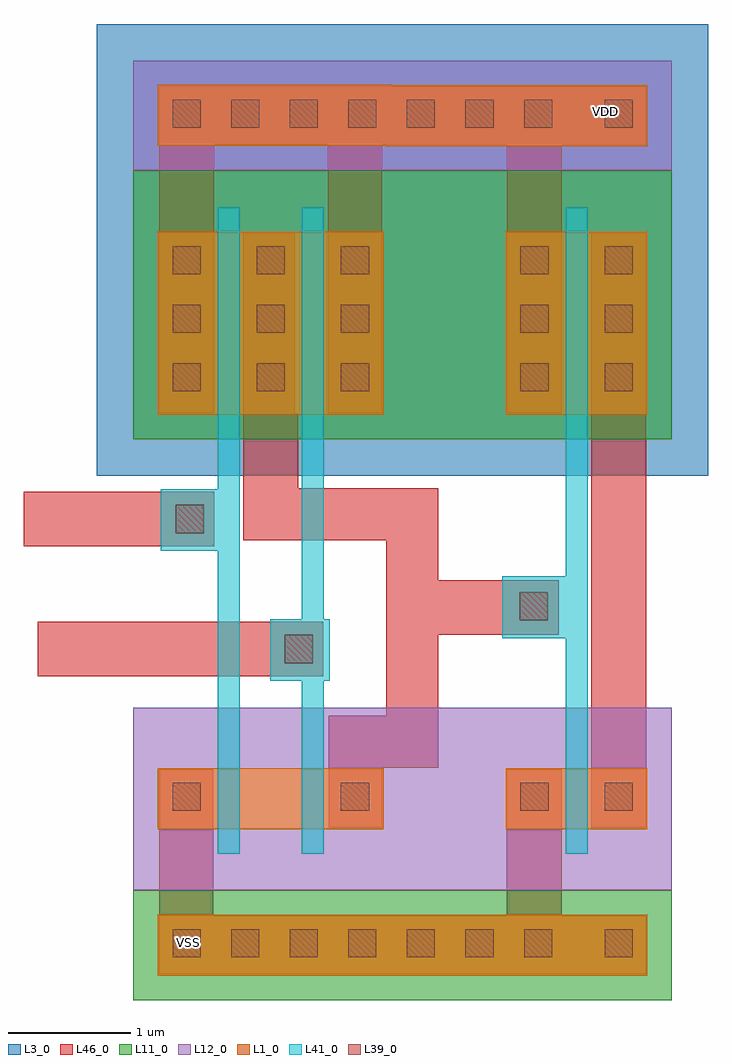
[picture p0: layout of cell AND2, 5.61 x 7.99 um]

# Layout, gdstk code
import gdstk
lib = gdstk.Library(unit=1e-6, precision=1e-09)
def R(c, l, rs):  # rectangles x0, y0, x1, y1
    for r in rs: c.add(gdstk.rectangle(r[:2], r[2:], *l))
def A(c, l, x, y, w, h, nx, ny, dx, dy):  # array of equal rectangles
    R(c, l, [(x+i*dx, y+j*dy, x+i*dx+w, y+j*dy+h) for i in range(nx) for j in range(ny)])
def P(c, l, *ps):  # polygons
    for p in ps: c.add(gdstk.Polygon(p, *l))
L1_0 = (1, 0)
L3_0 = (3, 0)
L11_0 = (11, 0)
L12_0 = (12, 0)
L39_0 = (39, 0)
L41_0 = (41, 0)
L46_0 = (46, 0)

and2 = lib.new_cell('AND2')
R(and2, L1_0, [(1.1,0.2,3.01,0.7), (3.95,0.2,5.11,0.7), (1.1,1.4,2.95,1.9), (3.95,1.4,5.11,1.9), (1.1,4.795,2.95,6.295), (3.95,4.795,5.11,6.295), (3.95,6.995,5.11,7.495), (1.1,6.996,3.01,7.496)])
R(and2, L3_0, [(0.6,4.295,5.61,7.995)])
R(and2, L11_0, [(0.9,0,5.31,0.9), (0.9,4.595,5.31,6.795)])
R(and2, L12_0, [(0.9,0.9,5.31,2.395), (0.9,6.795,5.31,7.695)])
A(and2, L39_0, 1.22, 0.35, 0.23, 0.23, 7, 1, 0.48, 0)
A(and2, L39_0, 1.22, 4.985, 0.23, 0.23, 3, 3, 0.69, 0.48)
A(and2, L39_0, 4.07, 4.985, 0.23, 0.23, 1, 3, 0, 0.48)
A(and2, L39_0, 4.76, 4.985, 0.23, 0.23, 1, 3, 0, 0.48)
A(and2, L39_0, 3.14, 7.145, 0.23, 0.23, 3, 1, 0.48, 0)
A(and2, L39_0, 1.22, 7.146, 0.23, 0.23, 4, 1, 0.48, 0)
R(and2, L39_0, [(4.76,0.35,4.99,0.58), (1.22,1.55,1.45,1.78), (2.6,1.55,2.83,1.78), (4.07,1.55,4.3,1.78), (4.76,1.55,4.99,1.78), (2.14,2.76,2.37,2.99), (4.065,3.11,4.295,3.34), (1.245,3.825,1.475,4.055), (4.76,7.145,4.99,7.375)])
R(and2, L41_0, [(1.59,1.2,1.77,6.495), (2.28,1.2,2.46,6.495), (4.44,1.2,4.62,6.495), (2.02,2.615,2.51,3.12), (3.92,2.965,4.475,3.47), (1.125,3.68,1.615,4.185)])
R(and2, L46_0, [(3.96,0.21,4.41,1.89), (2.5,1.41,2.94,1.902), (4.65,1.41,5.1,6.285), (3.94,2.99,4.385,3.44), (1.8,4.805,2.22,6.285), (3.96,4.805,4.41,7.485)])
P(and2, L46_0, [(1.11,0.21),(1.11,1.89),(1.555,1.89),(1.555,0.69),(5.1,0.69),(5.1,0.21)],
  [(1.11,4.805),(1.11,7.485),(5.1,7.485),(5.1,7.005),(2.94,7.005),(2.94,4.805),(2.49,4.805),(2.49,7.005),(1.56,7.005),(1.56,4.805)])
and2.add(gdstk.FlexPath([(3.01,0.45),(3.97,0.45)], 0.5, ends="flush", simple_path=True, layer=1, datatype=0))  # L1_0
and2.add(gdstk.FlexPath([(2.975,7.245),(3.95,7.245)], 0.5, ends="flush", simple_path=True, layer=1, datatype=0))  # L1_0
and2.add(gdstk.FlexPath([(2.713,1.89),(2.713,2.115),(3.168,2.115)], 0.426, ends="flush", simple_path=True, layer=46, datatype=0))  # L46_0
and2.add(gdstk.FlexPath([(3.185,1.902),(3.185,3.98),(1.8,3.98)], 0.426, ends="flush", simple_path=True, layer=46, datatype=0))  # L46_0
and2.add(gdstk.FlexPath([(2.025,3.975),(2.025,4.805)], 0.45, ends="flush", simple_path=True, layer=46, datatype=0))  # L46_0
and2.add(gdstk.FlexPath([(0,3.94),(1.56,3.94)], 0.45, ends="flush", simple_path=True, layer=46, datatype=0))  # L46_0
and2.add(gdstk.FlexPath([(0.115,2.875),(2.455,2.875)], 0.45, ends="flush", simple_path=True, layer=46, datatype=0))  # L46_0
and2.add(gdstk.FlexPath([(3.315,3.215),(3.94,3.215)], 0.45, ends="flush", simple_path=True, layer=46, datatype=0))  # L46_0
and2.add(gdstk.Label('VSS', (1.35,0.47), layer=101, texttype=0))
and2.add(gdstk.Label('VDD', (4.77,7.275), layer=101, texttype=0))

lib.write_gds('AND2.gds')
